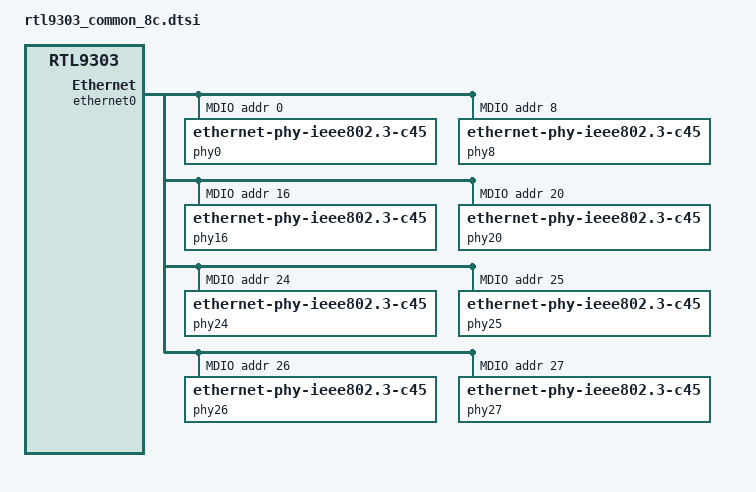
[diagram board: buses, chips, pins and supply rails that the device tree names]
// SPDX-License-Identifier: (GPL-2.0-or-later OR MIT)

/ {

};

&ethernet0 {
	mdio0: mdio-bus {
		compatible = "realtek,rtl9303-mdio", "realtek,rtl930x-mdio", "realtek,rtl838x-mdio";
		regmap = <&ethernet0>;
		#address-cells = <1>;
		#size-cells = <0>;

		/* 8 2.5GbE / 5GbE / 10GbE External PHYs */
		phy0: ethernet-phy@0 {
			reg = <0>;
			compatible = "ethernet-phy-ieee802.3-c45";
			sds = <2>;
			rtl9300,smi-address = <0 0>;
		};

		phy8: ethernet-phy@8 {
			compatible = "ethernet-phy-ieee802.3-c45";
			reg = <8>;
			sds = <3>;
			rtl9300,smi-address = <0 1>;
		};

		phy16: ethernet-phy@16 {
			reg = <16>;
			compatible = "ethernet-phy-ieee802.3-c45";
			sds = <4>;
			rtl9300,smi-address = <0 2>;
		};

		phy20: ethernet-phy@20 {
			reg = <20>;
			compatible = "ethernet-phy-ieee802.3-c45";
			sds = <5>;
			rtl9300,smi-address = <0 3>;
		};

		phy24: ethernet-phy@24 {
			reg = <24>;
			compatible = "ethernet-phy-ieee802.3-c45";
			sds = <6>;
			rtl9300,smi-address = <1 0>;
		};

		phy25: ethernet-phy@25 {
			reg = <25>;
			compatible = "ethernet-phy-ieee802.3-c45";
			sds = <7>;
			rtl9300,smi-address = <1 1>;
		};

		phy26: ethernet-phy@26 {
			reg = <26>;
			compatible = "ethernet-phy-ieee802.3-c45";
			sds = <8>;
			rtl9300,smi-address = <1 2>;
		};

		phy27: ethernet-phy@27 {
			reg = <27>;
			compatible = "ethernet-phy-ieee802.3-c45";
			sds = <9>;
			rtl9300,smi-address = <1 3>;
		};
	};
};
